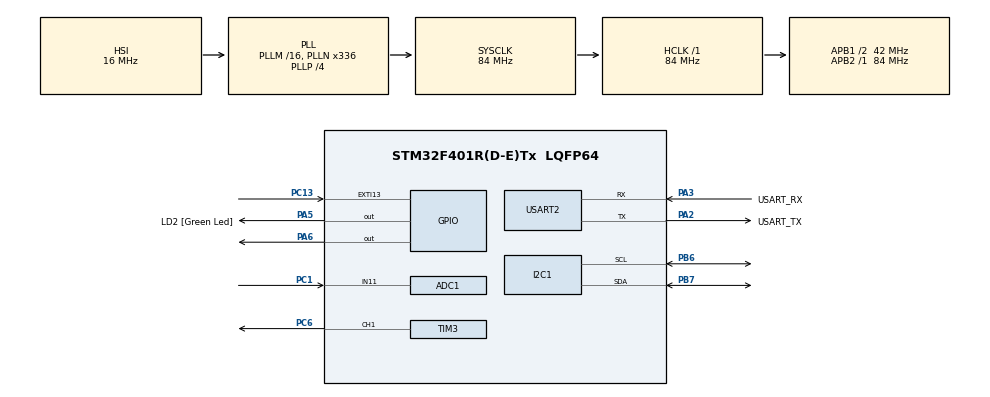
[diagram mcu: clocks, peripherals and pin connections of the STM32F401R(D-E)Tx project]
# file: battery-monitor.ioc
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ADC1.Channel-0\#ChannelRegularConversion=ADC_CHANNEL_11
ADC1.NbrOfConversionFlag=1
ADC1.Rank-0\#ChannelRegularConversion=1
ADC1.SamplingTime-0\#ChannelRegularConversion=ADC_SAMPLETIME_3CYCLES
ADC1.master=1
FREERTOS.Tasks01=defaultTask,24,128,StartDefaultTask,Default,NULL,Dynamic,NULL,NULL
FREERTOS.configUSE_NEWLIB_REENTRANT=1
Mcu.Family=STM32F4
Mcu.Name=STM32F401R(D-E)Tx
Mcu.Package=LQFP64
NVIC.EXTI15_10_IRQn=true\:5\:0\:false\:false\:true\:true\:true\:true\:true
NVIC.PriorityGroup=NVIC_PRIORITYGROUP_4
NVIC.TIM1_UP_TIM10_IRQn=true\:5\:0\:false\:false\:true\:false\:false\:true\:true
NVIC.TimeBase=TIM1_UP_TIM10_IRQn
NVIC.TimeBaseIP=TIM1
PA13.GPIO_Label=TMS
PA13.Mode=Trace_Asynchronous_SW
PA13.Signal=SYS_JTMS-SWDIO
PA14.GPIO_Label=TCK
PA14.Mode=Trace_Asynchronous_SW
PA14.Signal=SYS_JTCK-SWCLK
PA2.GPIO_Label=USART_TX
PA2.GPIO_Mode=GPIO_MODE_AF_PP
PA2.GPIO_PuPd=GPIO_NOPULL
PA2.GPIO_Speed=GPIO_SPEED_FREQ_LOW
PA2.Mode=Asynchronous
PA2.Signal=USART2_TX
PA3.GPIO_Label=USART_RX
PA3.GPIO_Mode=GPIO_MODE_AF_PP
PA3.GPIO_PuPd=GPIO_NOPULL
PA3.GPIO_Speed=GPIO_SPEED_FREQ_LOW
PA3.Mode=Asynchronous
PA3.Signal=USART2_RX
PA5.GPIO_Label=LD2 [Green Led]
PA5.GPIO_Mode=GPIO_MODE_OUTPUT_PP
PA5.GPIO_PuPd=GPIO_NOPULL
PA5.GPIO_Speed=GPIO_SPEED_FREQ_LOW
PA5.Signal=GPIO_Output
PA6.Signal=GPIO_Output
PB3.GPIO_Label=SWO
PB3.Mode=Trace_Asynchronous_SW
PB3.Signal=SYS_JTDO-SWO
PB6.Mode=I2C
PB6.Signal=I2C1_SCL
PB7.Mode=I2C
PB7.Signal=I2C1_SDA
PC1.Signal=ADCx_IN11
PC13-ANTI_TAMP.Signal=GPXTI13
PC14-OSC32_IN.Mode=LSE-External-Oscillator
PC14-OSC32_IN.Signal=RCC_OSC32_IN
PC15-OSC32_OUT.Mode=LSE-External-Oscillator
PC15-OSC32_OUT.Signal=RCC_OSC32_OUT
PC6.Signal=S_TIM3_CH1
PH0\ -\ OSC_IN.Mode=HSE-External-Clock-Source
PH0\ -\ OSC_IN.Signal=RCC_OSC_IN
PH1\ -\ OSC_OUT.Mode=HSE-External-Clock-Source
PH1\ -\ OSC_OUT.Signal=RCC_OSC_OUT
ProjectManager.HeapSize=0x200
ProjectManager.StackSize=0x400
ProjectManager.TargetToolchain=STM32CubeIDE
RCC.48MHZClocksFreq_Value=48000000
RCC.AHBFreq_Value=84000000
RCC.APB1CLKDivider=RCC_HCLK_DIV2
RCC.APB1Freq_Value=42000000
RCC.APB1TimFreq_Value=84000000
RCC.APB2Freq_Value=84000000
RCC.APB2TimFreq_Value=84000000
RCC.CortexFreq_Value=84000000
RCC.HCLKFreq_Value=84000000
RCC.HSE_VALUE=8000000
RCC.HSI_VALUE=16000000
RCC.PLLN=336
RCC.PLLP=RCC_PLLP_DIV4
RCC.PLLQ=7
RCC.SYSCLKFreq_VALUE=84000000
RCC.SYSCLKSource=RCC_SYSCLKSOURCE_PLLCLK
RCC.VCOOutputFreq_Value=336000000
SH.ADCx_IN11.0=ADC1_IN11,IN11
SH.S_TIM3_CH1.0=TIM3_CH1,PWM Generation1 CH1
TIM3.Channel-PWM\ Generation1\ CH1=TIM_CHANNEL_1
TIM3.OCFastMode_PWM-PWM\ Generation1\ CH1=TIM_OCFAST_ENABLE
TIM3.Period=209
TIM3.Prescaler=19
USART2.VirtualMode=VM_ASYNC
VP_FREERTOS_VS_CMSIS_V2.Mode=CMSIS_V2
VP_IWDG_VS_IWDG.Mode=IWDG_Activate
VP_SYS_VS_tim1.Mode=TIM1
VP_TIM3_VS_ClockSourceINT.Mode=Internal
board=NUCLEO-F401RE

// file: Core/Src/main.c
/* USER CODE BEGIN Header */
/**
  ******************************************************************************
  * @file           : main.c
  * @brief          : Main program body
  ******************************************************************************
  * @attention
  *
  * Copyright (c) 2026 STMicroelectronics.
  * All rights reserved.
  *
  * This software is licensed under terms that can be found in the LICENSE file
  * in the root directory of this software component.
  * If no LICENSE file comes with this software, it is provided AS-IS.
  *
  ******************************************************************************
  */
/* USER CODE END Header */
#include "main.h"
#include "cmsis_os.h"
#include "adc.h"
#include "i2c.h"
#include "iwdg.h"
#include "tim.h"
#include "usart.h"
#include "gpio.h"

/* USER CODE BEGIN Includes */
#include "app_tasks.h"
#include "globals.h"
#include "gpio.h"
#include "interrupts.h"
#include "messages.h"
/* USER CODE END Includes */

/* USER CODE BEGIN PV */

      // funciton prototypes are put in separate files
/* USER CODE END PV */

void SystemClock_Config(void);
void MX_FREERTOS_Init(void);

int main(void)
{

  /* MCU Configuration--------------------------------------------------------*/

  /* Reset of all peripherals, Initializes the Flash interface and the Systick. */
  HAL_Init();

  /* Configure the system clock */
  SystemClock_Config();

  /* Initialize all configured peripherals */
  MX_GPIO_Init();
  MX_ADC1_Init();
  MX_USART2_UART_Init();
  MX_I2C1_Init();
  MX_IWDG_Init();
  MX_TIM3_Init();
  /* USER CODE BEGIN 2 */
  if (__HAL_RCC_GET_FLAG(RCC_FLAG_IWDGRST) != RESET) {
      char *msg = "\r\n[CRITICAL] WATCHDOG RESET DETECTED!\r\n";
      HAL_UART_Transmit(&huart2, (uint8_t*)msg, strlen(msg), 100);
      __HAL_RCC_CLEAR_RESET_FLAGS();
  }
  HAL_TIM_PWM_Start(&htim3, TIM_CHANNEL_1);
  /* USER CODE END 2 */

  /* Init scheduler */
  osKernelInitialize();  /* Call init function for freertos objects (in cmsis_os2.c) */
  MX_FREERTOS_Init();

  /* Start scheduler */
  osKernelStart();

  /* We should never get here as control is now taken by the scheduler */

  /* Infinite loop */
  while (1)
  {

    /* USER CODE BEGIN 3 */

    // code to verify that adc works
  //uint16_t readVal;
  //char tx_buffer[20];
  //   printf("test print\r\n");
	//  HAL_ADC_Start(&hadc1);
	//  HAL_ADC_PollForConversion(&hadc1, HAL_MAX_DELAY);
	//  readVal = HAL_ADC_GetValue(&hadc1);

	//  sprintf(tx_buffer, "%hu\r\n", readVal);
	//  HAL_UART_Transmit(&huart2, (uint8_t*)tx_buffer, strlen(tx_buffer), HAL_MAX_DELAY);
	//  HAL_Delay(10);
  }
  /* USER CODE END 3 */
}

void SystemClock_Config(void)
{
  RCC_OscInitTypeDef RCC_OscInitStruct = {0};
  RCC_ClkInitTypeDef RCC_ClkInitStruct = {0};

  /** Configure the main internal regulator output voltage
  */
  __HAL_RCC_PWR_CLK_ENABLE();
  __HAL_PWR_VOLTAGESCALING_CONFIG(PWR_REGULATOR_VOLTAGE_SCALE2);

  /** Initializes the RCC Oscillators according to the specified parameters
  * in the RCC_OscInitTypeDef structure.
  */
  RCC_OscInitStruct.OscillatorType = RCC_OSCILLATORTYPE_HSI|RCC_OSCILLATORTYPE_LSI;
  RCC_OscInitStruct.HSIState = RCC_HSI_ON;
  RCC_OscInitStruct.HSICalibrationValue = RCC_HSICALIBRATION_DEFAULT;
  RCC_OscInitStruct.LSIState = RCC_LSI_ON;
  RCC_OscInitStruct.PLL.PLLState = RCC_PLL_ON;
  RCC_OscInitStruct.PLL.PLLSource = RCC_PLLSOURCE_HSI;
  RCC_OscInitStruct.PLL.PLLM = 16;
  RCC_OscInitStruct.PLL.PLLN = 336;
  RCC_OscInitStruct.PLL.PLLP = RCC_PLLP_DIV4;
  RCC_OscInitStruct.PLL.PLLQ = 7;
  if (HAL_RCC_OscConfig(&RCC_OscInitStruct) != HAL_OK)
  {
    Error_Handler();
  }

  /** Initializes the CPU, AHB and APB buses clocks
  */
  RCC_ClkInitStruct.ClockType = RCC_CLOCKTYPE_HCLK|RCC_CLOCKTYPE_SYSCLK
                              |RCC_CLOCKTYPE_PCLK1|RCC_CLOCKTYPE_PCLK2;
  RCC_ClkInitStruct.SYSCLKSource = RCC_SYSCLKSOURCE_PLLCLK;
  RCC_ClkInitStruct.AHBCLKDivider = RCC_SYSCLK_DIV1;
  RCC_ClkInitStruct.APB1CLKDivider = RCC_HCLK_DIV2;
  RCC_ClkInitStruct.APB2CLKDivider = RCC_HCLK_DIV1;

  if (HAL_RCC_ClockConfig(&RCC_ClkInitStruct, FLASH_LATENCY_2) != HAL_OK)
  {
    Error_Handler();
  }
}

void HAL_TIM_PeriodElapsedCallback(TIM_HandleTypeDef *htim)
{
  if (htim->Instance == TIM1)
  {
    HAL_IncTick();
  }
}

void Error_Handler(void)
{
  __disable_irq();
  while (1)
  {
  }
}

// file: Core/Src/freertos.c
/* USER CODE BEGIN Header */
/**
  ******************************************************************************
  * File Name          : freertos.c
  * Description        : Code for freertos applications
  ******************************************************************************
  * @attention
  *
  * Copyright (c) 2026 STMicroelectronics.
  * All rights reserved.
  *
  * This software is licensed under terms that can be found in the LICENSE file
  * in the root directory of this software component.
  * If no LICENSE file comes with this software, it is provided AS-IS.
  *
  ******************************************************************************
  */
/* USER CODE END Header */

#include "FreeRTOS.h"
#include "task.h"
#include "main.h"
#include "cmsis_os.h"

/* USER CODE BEGIN Includes */
#include "usart.h"
#include "messages.h"
#include "globals.h"
#include "app_tasks.h"
/* USER CODE END Includes */

/* Definitions for defaultTask */
osThreadId_t defaultTaskHandle;
const osThreadAttr_t defaultTask_attributes = {
  .name = "defaultTask",
  .stack_size = 128 * 4,
  .priority = (osPriority_t) osPriorityNormal,
};

void StartDefaultTask(void *argument);

void MX_FREERTOS_Init(void); /* (MISRA C 2004 rule 8.1) */

void MX_FREERTOS_Init(void) {

  /* USER CODE BEGIN RTOS_MUTEX */
  /* add mutexes, ... */
  xMutexHandle = osMutexNew(&xMutex_attributes);
  /* USER CODE END RTOS_MUTEX */

  /* USER CODE BEGIN RTOS_QUEUES */
  /* add queues, ... */
  xUARTQueueHandle = osMessageQueueNew(16, sizeof(UARTMsg_t), &xUARTQueue_attributes);
  /* USER CODE END RTOS_QUEUES */

  /* Create the thread(s) */
  /* creation of defaultTask */
  defaultTaskHandle = osThreadNew(StartDefaultTask, NULL, &defaultTask_attributes);

  /* USER CODE BEGIN RTOS_THREADS */
  /* add threads, ... */
  xTaskUARTHandle = osThreadNew(vTaskUART, NULL, &xTaskUART_attributes);
  xTaskAlarmHandle = osThreadNew(vTaskAlarm, NULL, &xTaskAlarm_attributes);
  xTaskEnvMgrHandle = osThreadNew(vTaskEnvMgr, NULL, &xTaskEnvMgr_attributes);
  xTaskVoltageMgrHandle = osThreadNew(vTaskVoltageMgr, NULL, &xTaskVoltageMgr_attributes);
  xTaskWatchdogHandle = osThreadNew(vTaskWatchdog, NULL, &xTaskWatchdog_attributes);
  xTaskPWMController = osThreadNew(vTaskPWMController, NULL, &xTaskPWMController_attributes);
  /* USER CODE END RTOS_THREADS */

}

void StartDefaultTask(void *argument)
{
  /* USER CODE BEGIN StartDefaultTask */
  HAL_StatusTypeDef halErrCode;
  /* Infinite loop */
  for(;;)
  {
    // RETURN_IF_ERROR_CODE_HAL(HAL_UART_Transmit(&huart2, (uint8_t*)"Default task\r\n", 19, 100), &healthFlags.uart);
    LOG_FROM_TASK(ERR_CODE_SUCCESS, MSG_TYPE_HEALTH, "Sensor Task Started");
    osDelay(100);
  }
  /* USER CODE END StartDefaultTask */
}
